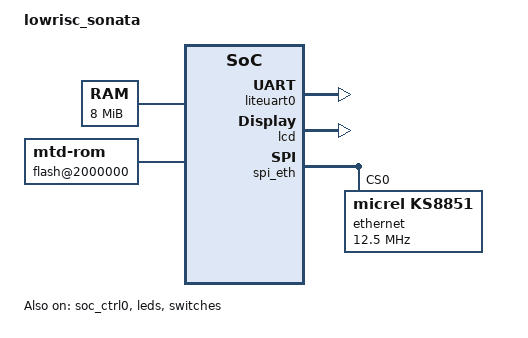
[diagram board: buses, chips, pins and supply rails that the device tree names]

/dts-v1/;

/ {
        compatible = "litex,lowrisc_sonata", "litex,soc";
        model = "lowrisc_sonata";
        #address-cells = <1>;
        #size-cells    = <1>;


        chosen {
            bootargs = "console=liteuart earlycon=liteuart,0xf0001000 root=mtd:rootfs rootfstype=romfs ro init=/sbin/init ip=dhcp panic=5 loglevel=8";
        };

        sys_clk: clock-50000000 {
            compatible = "fixed-clock";
            #clock-cells = <0>;
            clock-frequency  = <50000000>;
        };

        cpus {
            #address-cells = <1>;
            #size-cells    = <0>;
            timebase-frequency = <50000000>;

            CPU0: cpu@0 {
                device_type = "cpu";
                compatible = "riscv";
                riscv,isa = "rv32ima_zicsr_zifencei";
                riscv,isa-base = "rv32i";
                riscv,isa-extensions = "a", "i", "m", "zicsr", "zifencei";
                mmu-type = "riscv,sv32";
                reg = <0>;
                clock-frequency = <50000000>;
                status = "okay";

                d-cache-size = <8192>;
                d-cache-sets = <64>;
                d-cache-block-size = <64>;

                i-cache-size = <8192>;
                i-cache-sets = <64>;
                i-cache-block-size = <64>;


                tlb-split;
                d-tlb-size = <4>;
                d-tlb-sets = <4>;

                i-tlb-size = <4>;
                i-tlb-sets = <4>;


                L0: interrupt-controller {
                    #address-cells = <0>;
                    #interrupt-cells = <0x00000001>;
                    interrupt-controller;
                    compatible = "riscv,cpu-intc";
                };
            };

            CPU1: cpu@1 {
                device_type = "cpu";
                compatible = "riscv";
                riscv,isa = "rv32ima_zicsr_zifencei";
                riscv,isa-base = "rv32i";
                riscv,isa-extensions = "a", "i", "m", "zicsr", "zifencei";
                mmu-type = "riscv,sv32";
                reg = <1>;
                clock-frequency = <50000000>;
                status = "disabled";

                d-cache-size = <8192>;
                d-cache-sets = <64>;
                d-cache-block-size = <64>;

                i-cache-size = <8192>;
                i-cache-sets = <64>;
                i-cache-block-size = <64>;

                tlb-split;
                d-tlb-size = <4>;
                d-tlb-sets = <4>;

                i-tlb-size = <4>;
                i-tlb-sets = <4>;

                L1: interrupt-controller {
                    #address-cells = <0>;
                    #interrupt-cells = <0x00000001>;
                    interrupt-controller;
                    compatible = "riscv,cpu-intc";
                };
            };

            cpu-map {
                cluster0 {
                    core0 {
                        cpu = <&CPU0>;
                    };
                };
            };

        };

        memory: memory@40000000 {
            device_type = "memory";
            reg = <0x40000000 0x800000>;
            /* Full 8MB HyperRAM. M-mode stub runs from SRAM, not RAM. */
        };

        soc {
            #address-cells = <1>;
            #size-cells    = <1>;
            compatible = "simple-bus";
            interrupt-parent = <&intc0>;
            ranges;

            soc_ctrl0: soc_controller@f0000000 {
                compatible = "litex,soc-controller";
                reg = <0xf0000000 0xc>;
                status = "okay";
            };

            lintc0: clint@f0010000 {
                compatible = "riscv,clint0";
                interrupts-extended = <&L0 3 &L0 7>;
                reg = <0xf0010000 0x10000>;
                reg-names = "control";
            };

            intc0: interrupt-controller@f0c00000 {
                compatible = "sifive,fu540-c000-plic", "sifive,plic-1.0.0";
                reg = <0xf0c00000 0x400000>;
                #address-cells = <0>;
                #interrupt-cells = <1>;
                interrupt-controller;
                interrupts-extended = <&L0 11 &L0 9>;
                riscv,ndev = <32>;

            };

            liteuart0: serial@f0001000 {
                compatible = "litex,liteuart";
                reg = <0xf0001000 0x100>;
                interrupts = <1>;
                status = "okay";
            };

            lcd: display@80305000 {
                compatible = "sonata,lcdtext";
                reg = <0x80305000 0x200>;
            };

            lcdfb: framebuffer@80310000 {
                compatible = "sonata,lcdfb";
                reg = <0x80310000 0xa000>, <0x80305000 0x200>;
            };

            spi_eth: spi@80302000 {
                compatible = "lowrisc,opentitan-spi";
                reg = <0x80302000 0x2000>;
                #address-cells = <1>;
                #size-cells = <0>;
                clocks = <&sys_clk>;
                status = "okay";

                ethernet@0 {
                    compatible = "micrel,ks8851";
                    reg = <0>;
                    spi-max-frequency = <12500000>;
                    interrupts = <2>;
                    interrupt-parent = <&intc0>;
                };
            };

            leds: gpio@f0002800 {
                compatible = "litex,gpio";
                reg = <0xf0002800 0x4>;
                gpio-controller;
                #gpio-cells = <2>;
                litex,direction = "out";
                litex,ngpio = <4>;
                status = "okay";
            };

            switches: gpio@f0004800 {
                compatible = "litex,gpio";
                reg = <0xf0004800 0x4>;
                gpio-controller;
                #gpio-cells = <2>;
                litex,direction = "in";
                interrupts = <4>;
                litex,ngpio = <4>;
                status = "okay";
            };

            flash@2000000 {
                compatible = "mtd-rom";
                reg = <0x02000000 0x2000000>;
                bank-width = <1>;
                #address-cells = <1>;
                #size-cells = <1>;

                kernel@0 {
                    label = "kernel";
                    reg = <0x000000 0x540000>;
                };
                opensbi@540000 {
                    label = "opensbi";
                    reg = <0x540000 0x80000>;
                };
                rootfs@5C0000 {
                    label = "rootfs";
                    reg = <0x5C0000 0x1A40000>;
                };
            };

        };

        aliases {
                serial0 = &liteuart0;
        };

};
